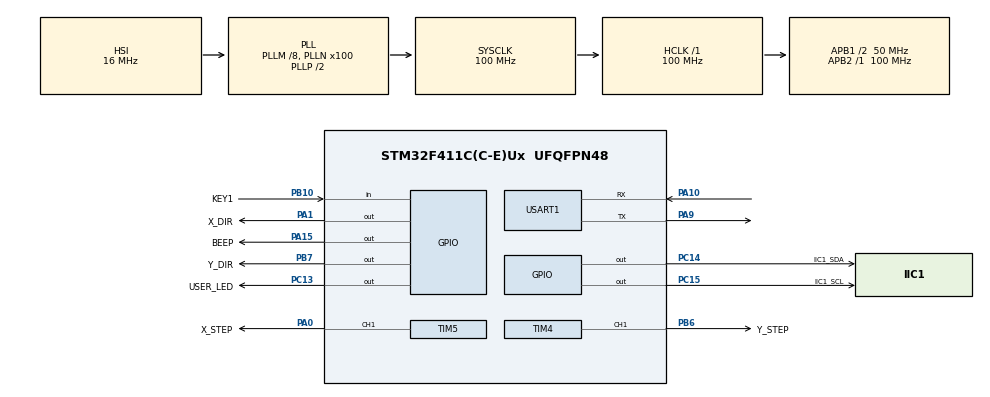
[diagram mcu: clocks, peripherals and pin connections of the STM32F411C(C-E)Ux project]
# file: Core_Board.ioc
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Dma.Request0=USART1_RX
Dma.USART1_RX.0.Direction=DMA_PERIPH_TO_MEMORY
Dma.USART1_RX.0.FIFOMode=DMA_FIFOMODE_DISABLE
Dma.USART1_RX.0.Instance=DMA2_Stream2
Dma.USART1_RX.0.MemDataAlignment=DMA_MDATAALIGN_BYTE
Dma.USART1_RX.0.MemInc=DMA_MINC_ENABLE
Dma.USART1_RX.0.Mode=DMA_CIRCULAR
Dma.USART1_RX.0.PeriphDataAlignment=DMA_PDATAALIGN_BYTE
Dma.USART1_RX.0.PeriphInc=DMA_PINC_DISABLE
Dma.USART1_RX.0.Priority=DMA_PRIORITY_LOW
FREERTOS.Tasks01=start_Task,24,128,StartDefaultTask,Default,NULL,Dynamic,NULL,NULL
Mcu.Family=STM32F4
Mcu.Name=STM32F411C(C-E)Ux
Mcu.Package=UFQFPN48
NVIC.DMA2_Stream2_IRQn=true\:5\:0\:false\:false\:true\:true\:false\:true\:true
NVIC.PriorityGroup=NVIC_PRIORITYGROUP_4
NVIC.TIM1_TRG_COM_TIM11_IRQn=true\:0\:0\:false\:false\:true\:false\:true\:true\:true
NVIC.TIM3_IRQn=true\:15\:0\:false\:false\:true\:false\:false\:true\:true
NVIC.TimeBase=TIM3_IRQn
NVIC.TimeBaseIP=TIM3
NVIC.USART1_IRQn=true\:5\:0\:false\:false\:true\:true\:true\:true\:true
PA0-WKUP.GPIO_Label=X_STEP
PA0-WKUP.GPIO_PuPd=GPIO_PULLUP
PA0-WKUP.GPIO_Speed=GPIO_SPEED_FREQ_VERY_HIGH
PA0-WKUP.Signal=S_TIM5_CH1
PA1.GPIO_Label=X_DIR
PA1.GPIO_Speed=GPIO_SPEED_FREQ_VERY_HIGH
PA1.Signal=GPIO_Output
PA10.Mode=Asynchronous
PA10.Signal=USART1_RX
PA13.Mode=Serial_Wire
PA13.Signal=SYS_JTMS-SWDIO
PA14.Mode=Serial_Wire
PA14.Signal=SYS_JTCK-SWCLK
PA15.GPIO_Label=BEEP
PA15.PinState=GPIO_PIN_SET
PA15.Signal=GPIO_Output
PA9.Mode=Asynchronous
PA9.Signal=USART1_TX
PB10.GPIO_Label=KEY1
PB10.GPIO_PuPd=GPIO_PULLUP
PB10.Signal=GPIO_Input
PB6.GPIO_Label=Y_STEP
PB6.GPIO_PuPd=GPIO_PULLUP
PB6.GPIO_Speed=GPIO_SPEED_FREQ_VERY_HIGH
PB6.Signal=S_TIM4_CH1
PB7.GPIO_Label=Y_DIR
PB7.GPIO_ModeDefaultOutputPP=GPIO_MODE_OUTPUT_PP
PB7.GPIO_PuPd=GPIO_NOPULL
PB7.GPIO_Speed=GPIO_SPEED_FREQ_VERY_HIGH
PB7.Signal=GPIO_Output
PC13-ANTI_TAMP.GPIO_Label=USER_LED
PC13-ANTI_TAMP.GPIO_PuPd=GPIO_PULLUP
PC13-ANTI_TAMP.Signal=GPIO_Output
PC14-OSC32_IN.GPIO_Label=IIC1_SDA
PC14-OSC32_IN.GPIO_ModeDefaultOutputPP=GPIO_MODE_OUTPUT_OD
PC14-OSC32_IN.GPIO_PuPd=GPIO_PULLUP
PC14-OSC32_IN.Signal=GPIO_Output
PC15-OSC32_OUT.GPIO_Label=IIC1_SCL
PC15-OSC32_OUT.GPIO_PuPd=GPIO_PULLUP
PC15-OSC32_OUT.Signal=GPIO_Output
PH0\ -\ OSC_IN.Mode=HSE-External-Oscillator
PH0\ -\ OSC_IN.Signal=RCC_OSC_IN
PH1\ -\ OSC_OUT.Mode=HSE-External-Oscillator
PH1\ -\ OSC_OUT.Signal=RCC_OSC_OUT
ProjectManager.HeapSize=0x400
ProjectManager.StackSize=0x800
ProjectManager.TargetToolchain=MDK-ARM V5.32
RCC.48MHZClocksFreq_Value=50000000
RCC.AHBFreq_Value=100000000
RCC.APB1CLKDivider=RCC_HCLK_DIV2
RCC.APB1Freq_Value=50000000
RCC.APB1TimFreq_Value=100000000
RCC.APB2Freq_Value=100000000
RCC.APB2TimFreq_Value=100000000
RCC.CortexFreq_Value=100000000
RCC.HCLKFreq_Value=100000000
RCC.HSE_VALUE=25000000
RCC.HSI_VALUE=16000000
RCC.LSE_VALUE=32768
RCC.PLLM=8
RCC.PLLN=100
RCC.SYSCLKFreq_VALUE=100000000
RCC.SYSCLKSource=RCC_SYSCLKSOURCE_PLLCLK
RCC.VCOOutputFreq_Value=200000000
SH.S_TIM4_CH1.0=TIM4_CH1,PWM Generation1 CH1
SH.S_TIM5_CH1.0=TIM5_CH1,PWM Generation1 CH1
TIM11.Period=1000-1
TIM11.Prescaler=100-1
TIM4.AutoReloadPreload=TIM_AUTORELOAD_PRELOAD_ENABLE
TIM4.Channel-PWM\ Generation1\ CH1=TIM_CHANNEL_1
TIM4.Period=100-1
TIM4.Prescaler=5000-1
TIM5.AutoReloadPreload=TIM_AUTORELOAD_PRELOAD_ENABLE
TIM5.Channel-PWM\ Generation1\ CH1=TIM_CHANNEL_1
TIM5.Period=100-1
TIM5.Prescaler=5000-1
TIM9.Period=65535
TIM9.Prescaler=100-1
USART1.VirtualMode=VM_ASYNC
VP_FREERTOS_VS_CMSIS_V2.Mode=CMSIS_V2
VP_SYS_VS_tim3.Mode=TIM3
VP_TIM11_VS_ClockSourceINT.Mode=Enable_Timer
VP_TIM4_VS_ClockSourceINT.Mode=Internal
VP_TIM5_VS_ClockSourceINT.Mode=Internal
VP_TIM9_VS_ClockSourceINT.Mode=Internal
board=custom

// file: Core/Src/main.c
/* USER CODE BEGIN Header */
/**
  ******************************************************************************
  * @file           : main.c
  * @brief          : Main program body
  ******************************************************************************
  * @attention
  *
  * Copyright (c) 2025 STMicroelectronics.
  * All rights reserved.
  *
  * This software is licensed under terms that can be found in the LICENSE file
  * in the root directory of this software component.
  * If no LICENSE file comes with this software, it is provided AS-IS.
  *
  ******************************************************************************
  */
/* USER CODE END Header */
#include "main.h"
#include "cmsis_os.h"
#include "dma.h"
#include "tim.h"
#include "usart.h"
#include "gpio.h"

/* USER CODE BEGIN PD */
#ifdef __GNUC__
	#define PUTCHAR_PROTOTYPE int _io_putchar(int ch)
#else
	#define PUTCHAR_PROTOTYPE int fputc(int ch, FILE *f)
#endif
PUTCHAR_PROTOTYPE
{
//	HAL_UART_Transmit(&huart1, (uint8_t *)&ch,1,0xffff);
//	while(HAL_UART_GetState(&huart1) != HAL_UART_STATE_READY);
	SEGGER_RTT_PutChar(0,(char)ch);
	return  ch;
}
/* USER CODE END PD */

/* USER CODE BEGIN PV */

step_motor_t* g_step_motor_x_inst    = NULL;
step_motor_t* g_step_motor_y_inst    = NULL;
pid_controller_t* g_x_pid_controller = NULL;
pid_controller_t* g_y_pid_controller = NULL;

uint32_t num;

/* USER CODE END PV */

void SystemClock_Config(void);
void MX_FREERTOS_Init(void);

/* USER CODE BEGIN 0 */
void Hard_Init(void);
/* USER CODE END 0 */

int main(void)
{

  /* MCU Configuration--------------------------------------------------------*/

  /* Reset of all peripherals, Initializes the Flash interface and the Systick. */
  HAL_Init();

  /* Configure the system clock */
  SystemClock_Config();

  /* Initialize all configured peripherals */
  MX_GPIO_Init();
  MX_DMA_Init();
  MX_TIM4_Init();
  MX_TIM5_Init();
  MX_USART1_UART_Init();
  MX_TIM9_Init();
  MX_TIM11_Init();
  /* USER CODE BEGIN 2 */
	Hard_Init();

  /* USER CODE END 2 */

  /* Init scheduler */
  osKernelInitialize();

  /* Call init function for freertos objects (in cmsis_os2.c) */
  MX_FREERTOS_Init();

  /* Start scheduler */
  osKernelStart();

  /* We should never get here as control is now taken by the scheduler */

  /* Infinite loop */
  /* USER CODE BEGIN WHILE */
  while (1)
  {
//	  num++;
//
//	  set_step_speed(g_step_motor_x_inst, num);
//	  step_motor_run(g_step_motor_x_inst);
//
//	  vDelay_ms(1);
    /* USER CODE END WHILE */

  }
}

void SystemClock_Config(void)
{
  RCC_OscInitTypeDef RCC_OscInitStruct = {0};
  RCC_ClkInitTypeDef RCC_ClkInitStruct = {0};

  /** Configure the main internal regulator output voltage
  */
  __HAL_RCC_PWR_CLK_ENABLE();
  __HAL_PWR_VOLTAGESCALING_CONFIG(PWR_REGULATOR_VOLTAGE_SCALE1);

  /** Initializes the RCC Oscillators according to the specified parameters
  * in the RCC_OscInitTypeDef structure.
  */
  RCC_OscInitStruct.OscillatorType = RCC_OSCILLATORTYPE_HSI;
  RCC_OscInitStruct.HSIState = RCC_HSI_ON;
  RCC_OscInitStruct.HSICalibrationValue = RCC_HSICALIBRATION_DEFAULT;
  RCC_OscInitStruct.PLL.PLLState = RCC_PLL_ON;
  RCC_OscInitStruct.PLL.PLLSource = RCC_PLLSOURCE_HSI;
  RCC_OscInitStruct.PLL.PLLM = 8;
  RCC_OscInitStruct.PLL.PLLN = 100;
  RCC_OscInitStruct.PLL.PLLP = RCC_PLLP_DIV2;
  RCC_OscInitStruct.PLL.PLLQ = 4;
  if (HAL_RCC_OscConfig(&RCC_OscInitStruct) != HAL_OK)
  {
    Error_Handler();
  }

  /** Initializes the CPU, AHB and APB buses clocks
  */
  RCC_ClkInitStruct.ClockType = RCC_CLOCKTYPE_HCLK|RCC_CLOCKTYPE_SYSCLK
                              |RCC_CLOCKTYPE_PCLK1|RCC_CLOCKTYPE_PCLK2;
  RCC_ClkInitStruct.SYSCLKSource = RCC_SYSCLKSOURCE_PLLCLK;
  RCC_ClkInitStruct.AHBCLKDivider = RCC_SYSCLK_DIV1;
  RCC_ClkInitStruct.APB1CLKDivider = RCC_HCLK_DIV2;
  RCC_ClkInitStruct.APB2CLKDivider = RCC_HCLK_DIV1;

  if (HAL_RCC_ClockConfig(&RCC_ClkInitStruct, FLASH_LATENCY_3) != HAL_OK)
  {
    Error_Handler();
  }
}

/* USER CODE BEGIN 4 */
void Hard_Init()
{
	OLED_Init();
	OLED_Clear();

	g_x_pid_controller = creat_pid_controller(1, 0, 0, 500, 500, 0, 0);
	g_y_pid_controller = creat_pid_controller(1, 0, 0, 300, 300, 0, 0);

	g_step_motor_x_inst = creat_step_motor(                  0,
										                 &htim5,
										          TIM_CHANNEL_1,
										        X_DIR_GPIO_Port,
										              X_DIR_Pin,
					                       STEP_MOTOR_DIR_RESET);
	g_step_motor_y_inst = creat_step_motor(                  0,
										                 &htim4,
										          TIM_CHANNEL_1,
										        Y_DIR_GPIO_Port,
										              Y_DIR_Pin,
										   STEP_MOTOR_DIR_RESET);

	step_motor_run(g_step_motor_x_inst);
	step_motor_run(g_step_motor_y_inst);

	HAL_TIM_Base_Start_IT(&htim11);
}
/* USER CODE END 4 */

void HAL_TIM_PeriodElapsedCallback(TIM_HandleTypeDef *htim)
{
  if (htim->Instance == TIM3) {
    HAL_IncTick();
  }
  /* USER CODE BEGIN Callback 1 */
  if (htim->Instance == TIM11)
  {
	if( (target_location.x_axis_location <= 240) && (target_location.y_axis_location <= 240))
	{
		set_step_speed(             g_step_motor_x_inst,
					   pid_compute(g_x_pid_controller,
	(int32_t)target_location.x_axis_location - TARGET_CENTER_X)
													  );
		set_step_speed(             g_step_motor_y_inst,
					   pid_compute(g_y_pid_controller,
	(int32_t)target_location.y_axis_location - TARGET_CENTER_Y)
													  );
	}
	else
	{
		set_step_speed(g_step_motor_x_inst, 0);
		set_step_speed(g_step_motor_y_inst, 0);
	}

	num++;
//	set_step_speed(g_step_motor_x_inst, num);
	step_motor_run(g_step_motor_x_inst);
	step_motor_run(g_step_motor_y_inst);
  }

  /* USER CODE END Callback 1 */
}

void Error_Handler(void)
{
  __disable_irq();
  while (1)
  {
  }
}

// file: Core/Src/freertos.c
/* USER CODE BEGIN Header */
/**
  ******************************************************************************
  * File Name          : freertos.c
  * Description        : Code for freertos applications
  ******************************************************************************
  * @attention
  *
  * Copyright (c) 2025 STMicroelectronics.
  * All rights reserved.
  *
  * This software is licensed under terms that can be found in the LICENSE file
  * in the root directory of this software component.
  * If no LICENSE file comes with this software, it is provided AS-IS.
  *
  ******************************************************************************
  */
/* USER CODE END Header */

#include "FreeRTOS.h"
#include "task.h"
#include "main.h"
#include "cmsis_os.h"

/* USER CODE BEGIN Includes */
#include "stdio.h"

#include "bsp_uart.h"

#include "SEGGER_RTT.h"

#include "app_control.h"
/* USER CODE END Includes */

/* Definitions for start_Task */
osThreadId_t start_TaskHandle;
const osThreadAttr_t start_Task_attributes = {
  .name = "start_Task",
  .stack_size = 128 * 4,
  .priority = (osPriority_t) osPriorityNormal,
};

void StartDefaultTask(void *argument);

void MX_FREERTOS_Init(void); /* (MISRA C 2004 rule 8.1) */

void MX_FREERTOS_Init(void) {

  /* Create the thread(s) */
  /* creation of start_Task */
  start_TaskHandle = osThreadNew(StartDefaultTask, NULL, &start_Task_attributes);

}

void StartDefaultTask(void *argument)
{
  /* USER CODE BEGIN StartDefaultTask */
	taskENTER_CRITICAL();           /* Entering the critical */

	/********** Initialize all APP Tasks **********/
	Sensor_DisplayHandle   =  osThreadNew(display_sensor_func,
                                                         NULL,
							        &Task_Display_attributes);

	Key_Read_Handle        =        osThreadNew(key_read_func,
                                                         NULL,
							       &Task_Key_Read_attributes);

//	Motor_Control_Handle   =   osThreadNew(motor_control_func,
//                                                         NULL,
//							  &Task_Motor_Control_attributes);

	Uart_produce_TaskHandle = osThreadNew(Uart_produce_func,
													   NULL,
	                          &Uart_produce_Task_attributes);
	Uart_consume_TaskHandle = osThreadNew(Uart_consume_func,
												       NULL,
	                          &Uart_consume_Task_attributes);

	/********** delete start task *****************/
	vTaskDelete(NULL);// detele self

	taskEXIT_CRITICAL();            /* Exit the critical     */

  /* Infinite loop */

  /* USER CODE END StartDefaultTask */
}
